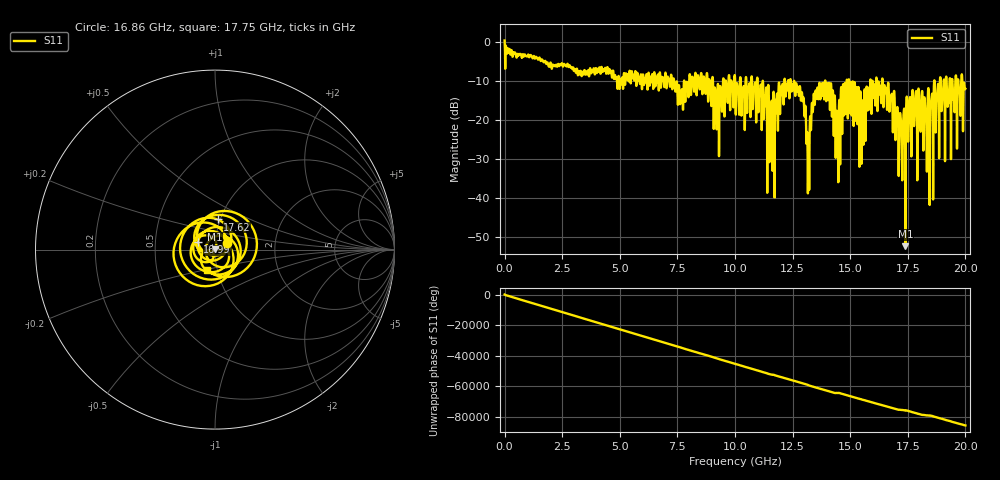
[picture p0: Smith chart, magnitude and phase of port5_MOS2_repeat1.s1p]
! MS46122B
! 2250307/22442219
! 7/24/2025 12:47:16 PM
! C:\USERS\SPARKY\DOCUMENTS\VNA_DATA\JULY24_2025\295K\PORT5_MOS2_REPEAT1.S1P
! CHANNEL.1
! TR.MEASUREMENT
! RAW.DATA
# GHZ S RI R 50.0
! FREQ.GHZ  S11RE  S11IM
!; PortSelection: Port_1
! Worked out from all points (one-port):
!   10001 points, 1 MHz to 20 GHz, reference 50 ohm
!   lowest |S11| = -52.4 dB at 17.4 GHz (marker M1), VSWR 1.00, Z = 49.8 + j0.0582 ohm
!   |S11| at or under -10 dB: 11.21 GHz to 12.14 GHz (932.4 MHz wide, 7.99 % of centre); 12.57 GHz to 13.91 GHz (1.337 GHz wide, 10.1 % of centre); 16.41 GHz to 18.65 GHz (2.238 GHz wide, 12.8 % of centre) (the widest 3 of 66)
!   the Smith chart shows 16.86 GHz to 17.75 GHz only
!   S11 on the Smith chart (normalised r, x): 16.86 GHz: 1.14, +0.08; 16.99 GHz: 0.82, +0.07; 17.62 GHz: 0.97, +0.34; 17.75 GHz: 0.89, -0.20
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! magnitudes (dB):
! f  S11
! 1 MHz  0.4
! 2.501 GHz  -5.6
! 5.001 GHz  -11.6
! 7.501 GHz  -12.7
! 9.239 GHz  -12.6
! 10 GHz  -9.2
! 11.04 GHz  -13.3
! 11.64 GHz  -25.2
! 12.5 GHz  -11.1
! 12.9 GHz  -12.9
! 13.19 GHz  -27.2
! 13.58 GHz  -11.8
! 14.09 GHz  -10.7
! 14.47 GHz  -22.4
! 14.69 GHz  -11.0
! 15 GHz  -13.4
! 15.49 GHz  -29.6
! 16.05 GHz  -11.0
! 16.86 GHz  -22.4
! 16.99 GHz  -19.7
! 17.19 GHz  -19.2
! 17.4 GHz  -52.4
! 17.5 GHz  -21.4
! 17.62 GHz  -15.5
! 17.75 GHz  -18.4
! 18.37 GHz  -13.8
! 18.99 GHz  -15.6
! 20 GHz  -12.0
